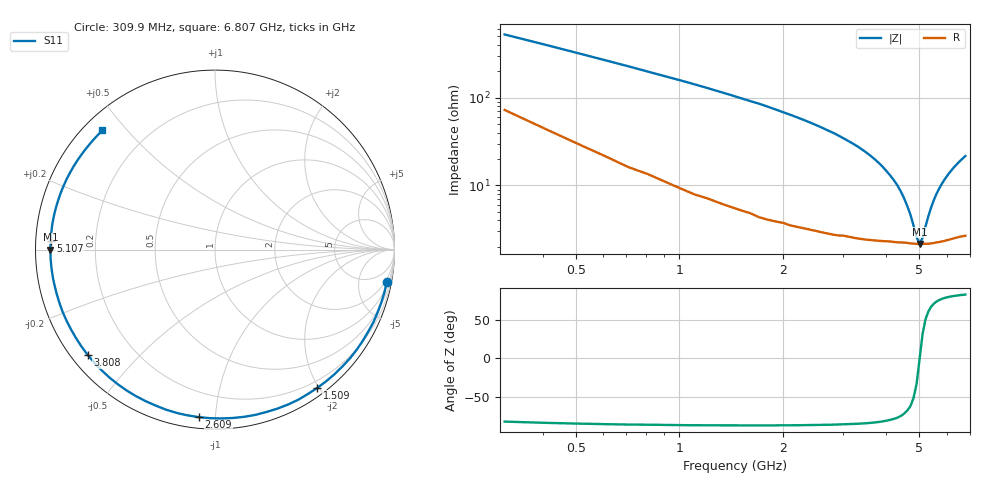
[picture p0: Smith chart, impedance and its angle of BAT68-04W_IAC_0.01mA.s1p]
! Infineon Technologies  Discrete & RF Semiconductors
! BAT68-04W
! IAC = 0.01 mA
! One-Port S-Parameters
# Hz  S  MA  R  50
!f  S11
!Hz  Mag  Ang
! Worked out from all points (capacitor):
!   66 points, 309.9 MHz to 6.807 GHz, reference 50 ohm
!   read as one part to ground: C = 973 fF near 309.9 MHz
!   lowest |Z| = 2.16 ohm at 5.008 GHz (marker M1)
!   series resonance near 5.009 GHz, so ESL is about 1 nH
!   S11 on the Smith chart (normalised r, x): 309.9 MHz: 1, -10; 1.509 GHz: 0.10, -1.98; 2.609 GHz: 0.06, -0.91; 3.808 GHz: 0.05, -0.36; 5.107 GHz: 0.04, +0.03; 6.807 GHz: 0.05, +0.43
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3.0985e8  0.9743 -10.8
5.0975e8  0.9723 -17.7
7.0965e8  0.9708 -24.6
1.0095e9  0.9667 -35.2
1.2094e9  0.9634 -42.4
1.50925e9  0.9583 -53.6
1.70915e9  0.9565 -60.7
2.009e9  0.949 -72.5
2.10895e9  0.948 -76.2
2.30885e9  0.9435 -83.9
2.6087e9  0.9379 -95.5
2.8086e9  0.9347 -103.1
3.0085e9  0.9297 -111.0
3.2084e9  0.9276 -118.4
3.4083e9  0.9252 -125.8
3.6082e9  0.9226 -133.2
3.8081e9  0.9203 -140.5
4.10795e9  0.9172 -151.1
4.4078e9  0.9163 -161.0
4.70765e9  0.9167 -170.5
5.0075e9  0.9171 -180.0
5.10745e9  0.9172 177.0
5.2074e9  0.917 174.0
5.50725e9  0.9166 165.3
5.8071e9  0.9153 157.1
6.007e9  0.9143 151.9
6.4068e9  0.9129 142.2
6.8066e9  0.9136 133.3
